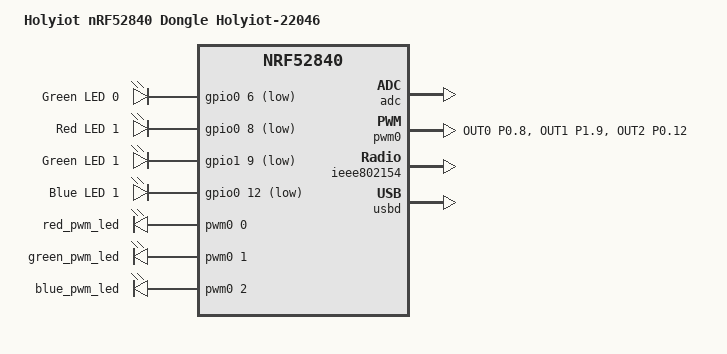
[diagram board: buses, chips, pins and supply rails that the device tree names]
// Copyright (c) 2024 Nordic Semiconductor ASA
// SPDX-License-Identifier: Apache-2.0

/dts-v1/;
#include <nordic/nrf52840_qiaa.dtsi>
#include <zephyr/dt-bindings/input/input-event-codes.h>

&pinctrl {
	pwm0_default: pwm0_default {
		group1 {
			psels = <NRF_PSEL(PWM_OUT0, 0, 8)>,
				<NRF_PSEL(PWM_OUT1, 1, 9)>,
				<NRF_PSEL(PWM_OUT2, 0, 12)>;
			nordic,invert;
		};
	};

	pwm0_sleep: pwm0_sleep {
		group1 {
			psels = <NRF_PSEL(PWM_OUT0, 0, 8)>,
				<NRF_PSEL(PWM_OUT1, 1, 9)>,
				<NRF_PSEL(PWM_OUT2, 0, 12)>;
			low-power-enable;
		};
	};
};

/ {
	model = "Holyiot nRF52840 Dongle Holyiot-22046";
	compatible = "nordic,nrf52840-dongle-nrf52840";

	chosen {
		zephyr,console = &cdc_acm_uart;
		zephyr,shell-uart = &cdc_acm_uart;
		zephyr,uart-mcumgr = &cdc_acm_uart;
		zephyr,bt-mon-uart = &cdc_acm_uart;
		zephyr,bt-c2h-uart = &cdc_acm_uart;
		zephyr,sram = &sram0;
		zephyr,flash = &flash0;
		zephyr,ieee802154 = &ieee802154;
	};

	leds {
		compatible = "gpio-leds";
		led0_green: led_0 {
			gpios = <&gpio0 6 GPIO_ACTIVE_LOW>;
			label = "Green LED 0";
		};
		led1_red: led_1 {
			gpios = <&gpio0 8 GPIO_ACTIVE_LOW>;
			label = "Red LED 1";
		};
		led1_green: led_2 {
			gpios = <&gpio1 9 GPIO_ACTIVE_LOW>;
			label = "Green LED 1";
		};
		led1_blue: led_3 {
			gpios = <&gpio0 12 GPIO_ACTIVE_LOW>;
			label = "Blue LED 1";
		};
	};

	pwmleds {
		compatible = "pwm-leds";
		red_pwm_led: pwm_led_0 {
			pwms = <&pwm0 0 PWM_MSEC(1) PWM_POLARITY_INVERTED>;
		};
		green_pwm_led: pwm_led_1 {
			pwms = <&pwm0 1 PWM_MSEC(1) PWM_POLARITY_INVERTED>;
		};
		blue_pwm_led: pwm_led_2 {
			pwms = <&pwm0 2 PWM_MSEC(1) PWM_POLARITY_INVERTED>;
		};
	};

	aliases {
		led0 = &led0_green;
		led1 = &led1_red;
		led2 = &led1_green;
		led3 = &led1_blue;
		led0-green = &led0_green;
		led1-red   = &led1_red;
		led1-green = &led1_green;
		led1-blue  = &led1_blue;
		pwm-led0 = &red_pwm_led;
		pwm-led1 = &green_pwm_led;
		pwm-led2 = &blue_pwm_led;
		red-pwm-led = &red_pwm_led;
		green-pwm-led = &green_pwm_led;
		blue-pwm-led = &blue_pwm_led;
		mcuboot-led0 = &led0_green;
		watchdog0 = &wdt0;
	};
};

&reg0 {
    status = "disabled";
};

&reg1 {
    regulator-initial-mode = <NRF5X_REG_MODE_LDO>;
};

&adc {
	status = "okay";
};

&gpiote {
	status = "okay";
};

&uicr {
	nfct-pins-as-gpios;
	gpio-as-nreset;
};

&gpio0 {
	status = "okay";
};

&gpio1 {
	status = "okay";
};

&pwm0 {
	status = "okay";
	pinctrl-0 = <&pwm0_default>;
	pinctrl-1 = <&pwm0_sleep>;
	pinctrl-names = "default", "sleep";
};

&ieee802154 {
	status = "okay";
};

zephyr_udc0: &usbd {
	compatible = "nordic,nrf-usbd";
	status = "okay";

	cdc_acm_uart: cdc_acm_uart {
		compatible = "zephyr,cdc-acm-uart";
	};
};
